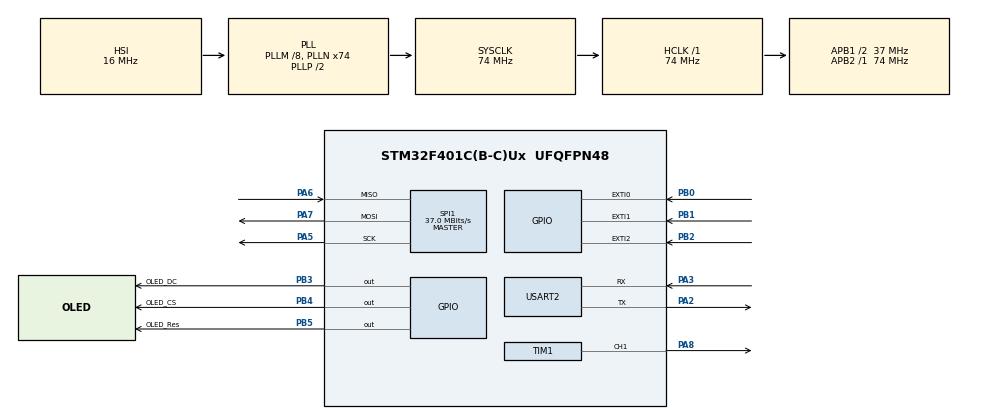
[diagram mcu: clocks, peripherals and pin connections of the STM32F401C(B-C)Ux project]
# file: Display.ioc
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Mcu.Family=STM32F4
Mcu.Name=STM32F401C(B-C)Ux
Mcu.Package=UFQFPN48
NVIC.EXTI0_IRQn=true\:0\:0\:false\:false\:true\:true\:true\:true
NVIC.EXTI1_IRQn=true\:0\:0\:false\:false\:true\:true\:true\:true
NVIC.EXTI2_IRQn=true\:0\:0\:false\:false\:true\:true\:true\:true
NVIC.PriorityGroup=NVIC_PRIORITYGROUP_4
PA2.Mode=Asynchronous
PA2.Signal=USART2_TX
PA3.Mode=Asynchronous
PA3.Signal=USART2_RX
PA5.Mode=Full_Duplex_Master
PA5.Signal=SPI1_SCK
PA6.Mode=Full_Duplex_Master
PA6.Signal=SPI1_MISO
PA7.Mode=Full_Duplex_Master
PA7.Signal=SPI1_MOSI
PA8.Signal=S_TIM1_CH1
PB0.Signal=GPXTI0
PB1.Signal=GPXTI1
PB2.Signal=GPXTI2
PB3.GPIO_Label=OLED_DC
PB3.Signal=GPIO_Output
PB4.GPIO_Label=OLED_CS
PB4.Signal=GPIO_Output
PB5.GPIO_Label=OLED_Res
PB5.Signal=GPIO_Output
ProjectManager.HeapSize=0x200
ProjectManager.StackSize=0x400
ProjectManager.TargetToolchain=STM32CubeIDE
RCC.48MHZClocksFreq_Value=37000000
RCC.AHBFreq_Value=74000000
RCC.APB1CLKDivider=RCC_HCLK_DIV2
RCC.APB1Freq_Value=37000000
RCC.APB1TimFreq_Value=74000000
RCC.APB2Freq_Value=74000000
RCC.APB2TimFreq_Value=74000000
RCC.CortexFreq_Value=74000000
RCC.HCLKFreq_Value=74000000
RCC.HSE_VALUE=25000000
RCC.HSI_VALUE=16000000
RCC.LSE_VALUE=32768
RCC.PLLM=8
RCC.PLLN=74
RCC.SYSCLKFreq_VALUE=74000000
RCC.SYSCLKSource=RCC_SYSCLKSOURCE_PLLCLK
RCC.VCOOutputFreq_Value=148000000
SH.S_TIM1_CH1.0=TIM1_CH1,PWM Generation1 CH1
SPI1.CalculateBaudRate=37.0 MBits/s
SPI1.Direction=SPI_DIRECTION_2LINES
SPI1.Mode=SPI_MODE_MASTER
SPI1.VirtualType=VM_MASTER
TIM1.Channel-PWM\ Generation1\ CH1=TIM_CHANNEL_1
USART2.VirtualMode=VM_ASYNC
board=custom

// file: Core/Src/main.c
/* USER CODE BEGIN Header */
/**
  ******************************************************************************
  * @file           : main.c
  * @brief          : Main program body
  ******************************************************************************
  * @attention
  *
  * Copyright (c) 2025 STMicroelectronics.
  * All rights reserved.
  *
  * This software is licensed under terms that can be found in the LICENSE file
  * in the root directory of this software component.
  * If no LICENSE file comes with this software, it is provided AS-IS.
  *
  ******************************************************************************
  */
/* USER CODE END Header */
#include "main.h"

/* USER CODE BEGIN Includes */
#include "ssd1306.h"
#include "ssd1306_tests.h"
#include "ssd1306_fonts.h"
#include "stdio.h"
#include "string.h"
/* USER CODE END Includes */

/* USER CODE BEGIN PTD */
uint32_t frequencies[] = { 2, 5, 20, 50, 100, 250, 500, 1000, 1500, 2000, 3000, 4000 , 5000  };
uint8_t freq_index = 0;
const uint8_t freq_count = sizeof(frequencies) / sizeof(frequencies[0]);
/* USER CODE END PTD */

SPI_HandleTypeDef hspi1;

TIM_HandleTypeDef htim1;

UART_HandleTypeDef huart2;

/* USER CODE BEGIN PV */
volatile uint32_t pwm_frequency = 1130;
/* USER CODE END PV */

void SystemClock_Config(void);
static void MX_GPIO_Init(void);
static void MX_USART2_UART_Init(void);
static void MX_TIM1_Init(void);
static void MX_SPI1_Init(void);

int main(void)
{

  /* MCU Configuration--------------------------------------------------------*/

  /* Reset of all peripherals, Initializes the Flash interface and the Systick. */
  HAL_Init();

  /* Configure the system clock */
  SystemClock_Config();

  /* Initialize all configured peripherals */
  MX_GPIO_Init();
  MX_USART2_UART_Init();
  MX_TIM1_Init();
  MX_SPI1_Init();
  /* USER CODE BEGIN 2 */
  ssd1306_Init();
  HAL_TIM_PWM_Start(&htim1, TIM_CHANNEL_1);
  	// Set initial values for frequency and duty cycle

  	// Display the initial values on OLED
  // Display the initial values on OLED
  ssd1306_Fill(Black);

  // Frequency
  ssd1306_SetCursor(0, 0);
  ssd1306_WriteString("Starting", Font_7x10, White);

  // Time period
  ssd1306_SetCursor(0, 15);
  ssd1306_WriteString("Press a button", Font_7x10, White);

  ssd1306_UpdateScreen();

  	/*
  	ssd1306_WriteString( "Freq:  KHz", Font_11x18, White);
  	ssd1306_SetCursor(2, 40);
  	ssd1306_WriteString("Duty: ", Font_11x18, White);
  	ssd1306_UpdateScreen();
  	*/
  /* USER CODE END 2 */

  /* Infinite loop */
  while (1)
  {

  }
}

void SystemClock_Config(void)
{
  RCC_OscInitTypeDef RCC_OscInitStruct = {0};
  RCC_ClkInitTypeDef RCC_ClkInitStruct = {0};

  /** Configure the main internal regulator output voltage
  */
  __HAL_RCC_PWR_CLK_ENABLE();
  __HAL_PWR_VOLTAGESCALING_CONFIG(PWR_REGULATOR_VOLTAGE_SCALE2);

  /** Initializes the RCC Oscillators according to the specified parameters
  * in the RCC_OscInitTypeDef structure.
  */
  RCC_OscInitStruct.OscillatorType = RCC_OSCILLATORTYPE_HSI;
  RCC_OscInitStruct.HSIState = RCC_HSI_ON;
  RCC_OscInitStruct.HSICalibrationValue = RCC_HSICALIBRATION_DEFAULT;
  RCC_OscInitStruct.PLL.PLLState = RCC_PLL_ON;
  RCC_OscInitStruct.PLL.PLLSource = RCC_PLLSOURCE_HSI;
  RCC_OscInitStruct.PLL.PLLM = 8;
  RCC_OscInitStruct.PLL.PLLN = 74;
  RCC_OscInitStruct.PLL.PLLP = RCC_PLLP_DIV2;
  RCC_OscInitStruct.PLL.PLLQ = 4;
  if (HAL_RCC_OscConfig(&RCC_OscInitStruct) != HAL_OK)
  {
    Error_Handler();
  }

  /** Initializes the CPU, AHB and APB buses clocks
  */
  RCC_ClkInitStruct.ClockType = RCC_CLOCKTYPE_HCLK|RCC_CLOCKTYPE_SYSCLK
                              |RCC_CLOCKTYPE_PCLK1|RCC_CLOCKTYPE_PCLK2;
  RCC_ClkInitStruct.SYSCLKSource = RCC_SYSCLKSOURCE_PLLCLK;
  RCC_ClkInitStruct.AHBCLKDivider = RCC_SYSCLK_DIV1;
  RCC_ClkInitStruct.APB1CLKDivider = RCC_HCLK_DIV2;
  RCC_ClkInitStruct.APB2CLKDivider = RCC_HCLK_DIV1;

  if (HAL_RCC_ClockConfig(&RCC_ClkInitStruct, FLASH_LATENCY_2) != HAL_OK)
  {
    Error_Handler();
  }
}

static void MX_SPI1_Init(void)
{

  /* SPI1 parameter configuration*/
  hspi1.Instance = SPI1;
  hspi1.Init.Mode = SPI_MODE_MASTER;
  hspi1.Init.Direction = SPI_DIRECTION_2LINES;
  hspi1.Init.DataSize = SPI_DATASIZE_8BIT;
  hspi1.Init.CLKPolarity = SPI_POLARITY_LOW;
  hspi1.Init.CLKPhase = SPI_PHASE_1EDGE;
  hspi1.Init.NSS = SPI_NSS_SOFT;
  hspi1.Init.BaudRatePrescaler = SPI_BAUDRATEPRESCALER_8;
  hspi1.Init.FirstBit = SPI_FIRSTBIT_MSB;
  hspi1.Init.TIMode = SPI_TIMODE_DISABLE;
  hspi1.Init.CRCCalculation = SPI_CRCCALCULATION_DISABLE;
  hspi1.Init.CRCPolynomial = 10;
  if (HAL_SPI_Init(&hspi1) != HAL_OK)
  {
    Error_Handler();
  }

}

static void MX_TIM1_Init(void)
{

  TIM_MasterConfigTypeDef sMasterConfig = {0};
  TIM_OC_InitTypeDef sConfigOC = {0};
  TIM_BreakDeadTimeConfigTypeDef sBreakDeadTimeConfig = {0};

  htim1.Instance = TIM1;
  htim1.Init.Prescaler = 2500;
  htim1.Init.CounterMode = TIM_COUNTERMODE_UP;
  htim1.Init.Period = 295;
  htim1.Init.ClockDivision = TIM_CLOCKDIVISION_DIV1;
  htim1.Init.RepetitionCounter = 0;
  htim1.Init.AutoReloadPreload = TIM_AUTORELOAD_PRELOAD_DISABLE;
  if (HAL_TIM_PWM_Init(&htim1) != HAL_OK)
  {
    Error_Handler();
  }
  sMasterConfig.MasterOutputTrigger = TIM_TRGO_RESET;
  sMasterConfig.MasterSlaveMode = TIM_MASTERSLAVEMODE_DISABLE;
  if (HAL_TIMEx_MasterConfigSynchronization(&htim1, &sMasterConfig) != HAL_OK)
  {
    Error_Handler();
  }
  sConfigOC.OCMode = TIM_OCMODE_PWM1;
  sConfigOC.Pulse = 147;
  sConfigOC.OCPolarity = TIM_OCPOLARITY_HIGH;
  sConfigOC.OCNPolarity = TIM_OCNPOLARITY_HIGH;
  sConfigOC.OCFastMode = TIM_OCFAST_DISABLE;
  sConfigOC.OCIdleState = TIM_OCIDLESTATE_RESET;
  sConfigOC.OCNIdleState = TIM_OCNIDLESTATE_RESET;
  if (HAL_TIM_PWM_ConfigChannel(&htim1, &sConfigOC, TIM_CHANNEL_1) != HAL_OK)
  {
    Error_Handler();
  }
  sBreakDeadTimeConfig.OffStateRunMode = TIM_OSSR_DISABLE;
  sBreakDeadTimeConfig.OffStateIDLEMode = TIM_OSSI_DISABLE;
  sBreakDeadTimeConfig.LockLevel = TIM_LOCKLEVEL_OFF;
  sBreakDeadTimeConfig.DeadTime = 0;
  sBreakDeadTimeConfig.BreakState = TIM_BREAK_DISABLE;
  sBreakDeadTimeConfig.BreakPolarity = TIM_BREAKPOLARITY_HIGH;
  sBreakDeadTimeConfig.AutomaticOutput = TIM_AUTOMATICOUTPUT_DISABLE;
  if (HAL_TIMEx_ConfigBreakDeadTime(&htim1, &sBreakDeadTimeConfig) != HAL_OK)
  {
    Error_Handler();
  }
  HAL_TIM_MspPostInit(&htim1);

}

static void MX_USART2_UART_Init(void)
{

  huart2.Instance = USART2;
  huart2.Init.BaudRate = 115200;
  huart2.Init.WordLength = UART_WORDLENGTH_8B;
  huart2.Init.StopBits = UART_STOPBITS_1;
  huart2.Init.Parity = UART_PARITY_NONE;
  huart2.Init.Mode = UART_MODE_TX_RX;
  huart2.Init.HwFlowCtl = UART_HWCONTROL_NONE;
  huart2.Init.OverSampling = UART_OVERSAMPLING_16;
  if (HAL_UART_Init(&huart2) != HAL_OK)
  {
    Error_Handler();
  }

}

static void MX_GPIO_Init(void)
{
  GPIO_InitTypeDef GPIO_InitStruct = {0};

  /* GPIO Ports Clock Enable */
  __HAL_RCC_GPIOA_CLK_ENABLE();
  __HAL_RCC_GPIOB_CLK_ENABLE();

  /*Configure GPIO pin Output Level */
  HAL_GPIO_WritePin(GPIOB, OLED_DC_Pin|OLED_CS_Pin|OLED_Res_Pin, GPIO_PIN_RESET);

  /*Configure GPIO pins : PB0 PB1 PB2 */
  GPIO_InitStruct.Pin = GPIO_PIN_0|GPIO_PIN_1|GPIO_PIN_2;
  GPIO_InitStruct.Mode = GPIO_MODE_IT_RISING;
  GPIO_InitStruct.Pull = GPIO_PULLUP;
  HAL_GPIO_Init(GPIOB, &GPIO_InitStruct);

  /*Configure GPIO pins : OLED_DC_Pin OLED_CS_Pin OLED_Res_Pin */
  GPIO_InitStruct.Pin = OLED_DC_Pin|OLED_CS_Pin|OLED_Res_Pin;
  GPIO_InitStruct.Mode = GPIO_MODE_OUTPUT_PP;
  GPIO_InitStruct.Pull = GPIO_NOPULL;
  GPIO_InitStruct.Speed = GPIO_SPEED_FREQ_LOW;
  HAL_GPIO_Init(GPIOB, &GPIO_InitStruct);

  // --- Configure PA8 (TIM1_CH1) as AF ---

  __HAL_RCC_GPIOA_CLK_ENABLE();  // already enabled, but safe here too

  GPIO_InitStruct.Pin = GPIO_PIN_8;
  GPIO_InitStruct.Mode = GPIO_MODE_AF_PP;
  GPIO_InitStruct.Pull = GPIO_NOPULL;
  GPIO_InitStruct.Speed = GPIO_SPEED_FREQ_LOW;
  GPIO_InitStruct.Alternate = GPIO_AF1_TIM1;
  HAL_GPIO_Init(GPIOA, &GPIO_InitStruct);

  /* EXTI interrupt init*/
  HAL_NVIC_SetPriority(EXTI0_IRQn, 0, 0);
  HAL_NVIC_EnableIRQ(EXTI0_IRQn);

  HAL_NVIC_SetPriority(EXTI1_IRQn, 0, 0);
  HAL_NVIC_EnableIRQ(EXTI1_IRQn);

  HAL_NVIC_SetPriority(EXTI2_IRQn, 0, 0);
  HAL_NVIC_EnableIRQ(EXTI2_IRQn);

}

/* USER CODE BEGIN 4 */
#define MAX(a,b) ((a) > (b) ? (a) : (b))  // Safe macro

void HAL_GPIO_EXTI_Callback(uint16_t GPIO_Pin)
{
    static uint32_t last_irq_time_pb0 = 0;
    static uint32_t last_irq_time_pb1 = 0;
    static uint32_t last_irq_time_pb2 = 0;

    uint32_t current_time = HAL_GetTick();
    char msg[100];

    uint32_t period = __HAL_TIM_GET_AUTORELOAD(&htim1);
    uint32_t pulse = __HAL_TIM_GET_COMPARE(&htim1, TIM_CHANNEL_1);

    // ==== PB0: Decrease frequency ====
    if (GPIO_Pin == GPIO_PIN_0)
    {
        if (current_time - last_irq_time_pb0 < 200) return;
        last_irq_time_pb0 = current_time;

        freq_index = (freq_index == 0) ? freq_count - 1 : freq_index - 1;
        pwm_frequency = frequencies[freq_index];

        uint32_t TIM_CLK = 74000000;
        uint32_t new_period = (TIM_CLK / ((2500 + 1) * pwm_frequency)) - 1;
        uint32_t new_pulse = (uint32_t)(0.01f * (new_period + 1));  // 1% PD
        pulse = new_pulse;

        __HAL_TIM_SET_AUTORELOAD(&htim1, new_period);
        __HAL_TIM_SET_COMPARE(&htim1, TIM_CHANNEL_1, pulse);
        htim1.Instance->EGR = TIM_EGR_UG;

        float time_period_ms = 1e3f / pwm_frequency;
        uint8_t pd_percent = (100 * pulse) / (new_period + 1);
        uint8_t pp_percent = 100 - pd_percent;

        sprintf(msg, "↓ Freq: %lu Hz | T: %.2f ms | PD: %d%% | PP: %d%%\r\n",
                pwm_frequency, time_period_ms, pd_percent, pp_percent);
        HAL_UART_Transmit(&huart2, (uint8_t*)msg, strlen(msg), HAL_MAX_DELAY);

        char line[32];
        ssd1306_Fill(Black);
        ssd1306_SetCursor(0, 0);
        sprintf(line, "Freq: %lu Hz", pwm_frequency);
        ssd1306_WriteString(line, Font_11x18, White);

        ssd1306_SetCursor(0, 20);
        sprintf(line, "T = %.2f ms", time_period_ms);
        ssd1306_WriteString(line, Font_7x10, White);

        ssd1306_SetCursor(0, 30);
        sprintf(line, "PD: %d%%", pd_percent);
        ssd1306_WriteString(line, Font_7x10, White);

        ssd1306_SetCursor(0, 40);
        sprintf(line, "PP: %d%%", pp_percent);
        ssd1306_WriteString(line, Font_7x10, White);

        ssd1306_UpdateScreen();
    }

    // ==== PB1: Increase frequency ====
    else if (GPIO_Pin == GPIO_PIN_1)
    {
        if (current_time - last_irq_time_pb1 < 200) return;
        last_irq_time_pb1 = current_time;

        freq_index = (freq_index + 1) % freq_count;
        pwm_frequency = frequencies[freq_index];

        uint32_t TIM_CLK = 74000000;
        uint32_t new_period = (TIM_CLK / ((2500 + 1) * pwm_frequency)) - 1;
        uint32_t new_pulse = (uint32_t)(0.01f * (new_period + 1));  // 1% PD
        pulse = new_pulse;

        __HAL_TIM_SET_AUTORELOAD(&htim1, new_period);
        __HAL_TIM_SET_COMPARE(&htim1, TIM_CHANNEL_1, pulse);
        htim1.Instance->EGR = TIM_EGR_UG;

        float time_period_ms = 1e3f / pwm_frequency;
        uint8_t pd_percent = (100 * pulse) / (new_period + 1);
        uint8_t pp_percent = 100 - pd_percent;

        sprintf(msg, "↑ Freq: %lu Hz | T: %.2f ms | PD: %d%% | PP: %d%%\r\n",
                pwm_frequency, time_period_ms, pd_percent, pp_percent);
        HAL_UART_Transmit(&huart2, (uint8_t*)msg, strlen(msg), HAL_MAX_DELAY);

        char line[32];
        ssd1306_Fill(Black);
        ssd1306_SetCursor(0, 0);
        sprintf(line, "Freq: %lu Hz", pwm_frequency);
        ssd1306_WriteString(line, Font_11x18, White);

        ssd1306_SetCursor(0, 20);
        sprintf(line, "T = %.2f ms", time_period_ms);
        ssd1306_WriteString(line, Font_7x10, White);

        ssd1306_SetCursor(0, 30);
        sprintf(line, "PD: %d%%", pd_percent);
        ssd1306_WriteString(line, Font_7x10, White);

        ssd1306_SetCursor(0, 40);
        sprintf(line, "PP: %d%%", pp_percent);
        ssd1306_WriteString(line, Font_7x10, White);

        ssd1306_UpdateScreen();
    }

    // ==== PB2: Increase PD by 1% ====
    else if (GPIO_Pin == GPIO_PIN_2)
    {
        if (current_time - last_irq_time_pb2 < 200) return;
        last_irq_time_pb2 = current_time;

        uint32_t step_ticks = MAX(1, (uint32_t)((1.0f / 100.0f) * (period + 1)));

        if (pulse + step_ticks > period)
            pulse = 0;  // Wrap back to 0% if exceeds 100%
        else
            pulse += step_ticks;

        __HAL_TIM_SET_COMPARE(&htim1, TIM_CHANNEL_1, pulse);
        htim1.Instance->EGR = TIM_EGR_UG;

        float time_period_ms = 1e3f / pwm_frequency;
        uint8_t pd_percent = (100 * pulse) / (period + 1);
        uint8_t pp_percent = 100 - pd_percent;

        sprintf(msg, "↑ PD: %d%% | PP: %d%% | T: %.2f ms\r\n",
                pd_percent, pp_percent, time_period_ms);
        HAL_UART_Transmit(&huart2, (uint8_t*)msg, strlen(msg), HAL_MAX_DELAY);

        char line[32];
        ssd1306_Fill(Black);
        ssd1306_SetCursor(0, 0);
        sprintf(line, "Freq: %lu Hz", pwm_frequency);
        ssd1306_WriteString(line, Font_11x18, White);

        ssd1306_SetCursor(0, 20);
        sprintf(line, "T = %.2f ms", time_period_ms);
        ssd1306_WriteString(line, Font_7x10, White);

        ssd1306_SetCursor(0, 30);
        sprintf(line, "PD: %d%%", pd_percent);
        ssd1306_WriteString(line, Font_7x10, White);

        ssd1306_SetCursor(0, 40);
        sprintf(line, "PP: %d%%", pp_percent);
        ssd1306_WriteString(line, Font_7x10, White);

        ssd1306_UpdateScreen();
    }
}

/* USER CODE END 4 */

void Error_Handler(void)
{
  __disable_irq();
  while (1)
  {
  }
}
